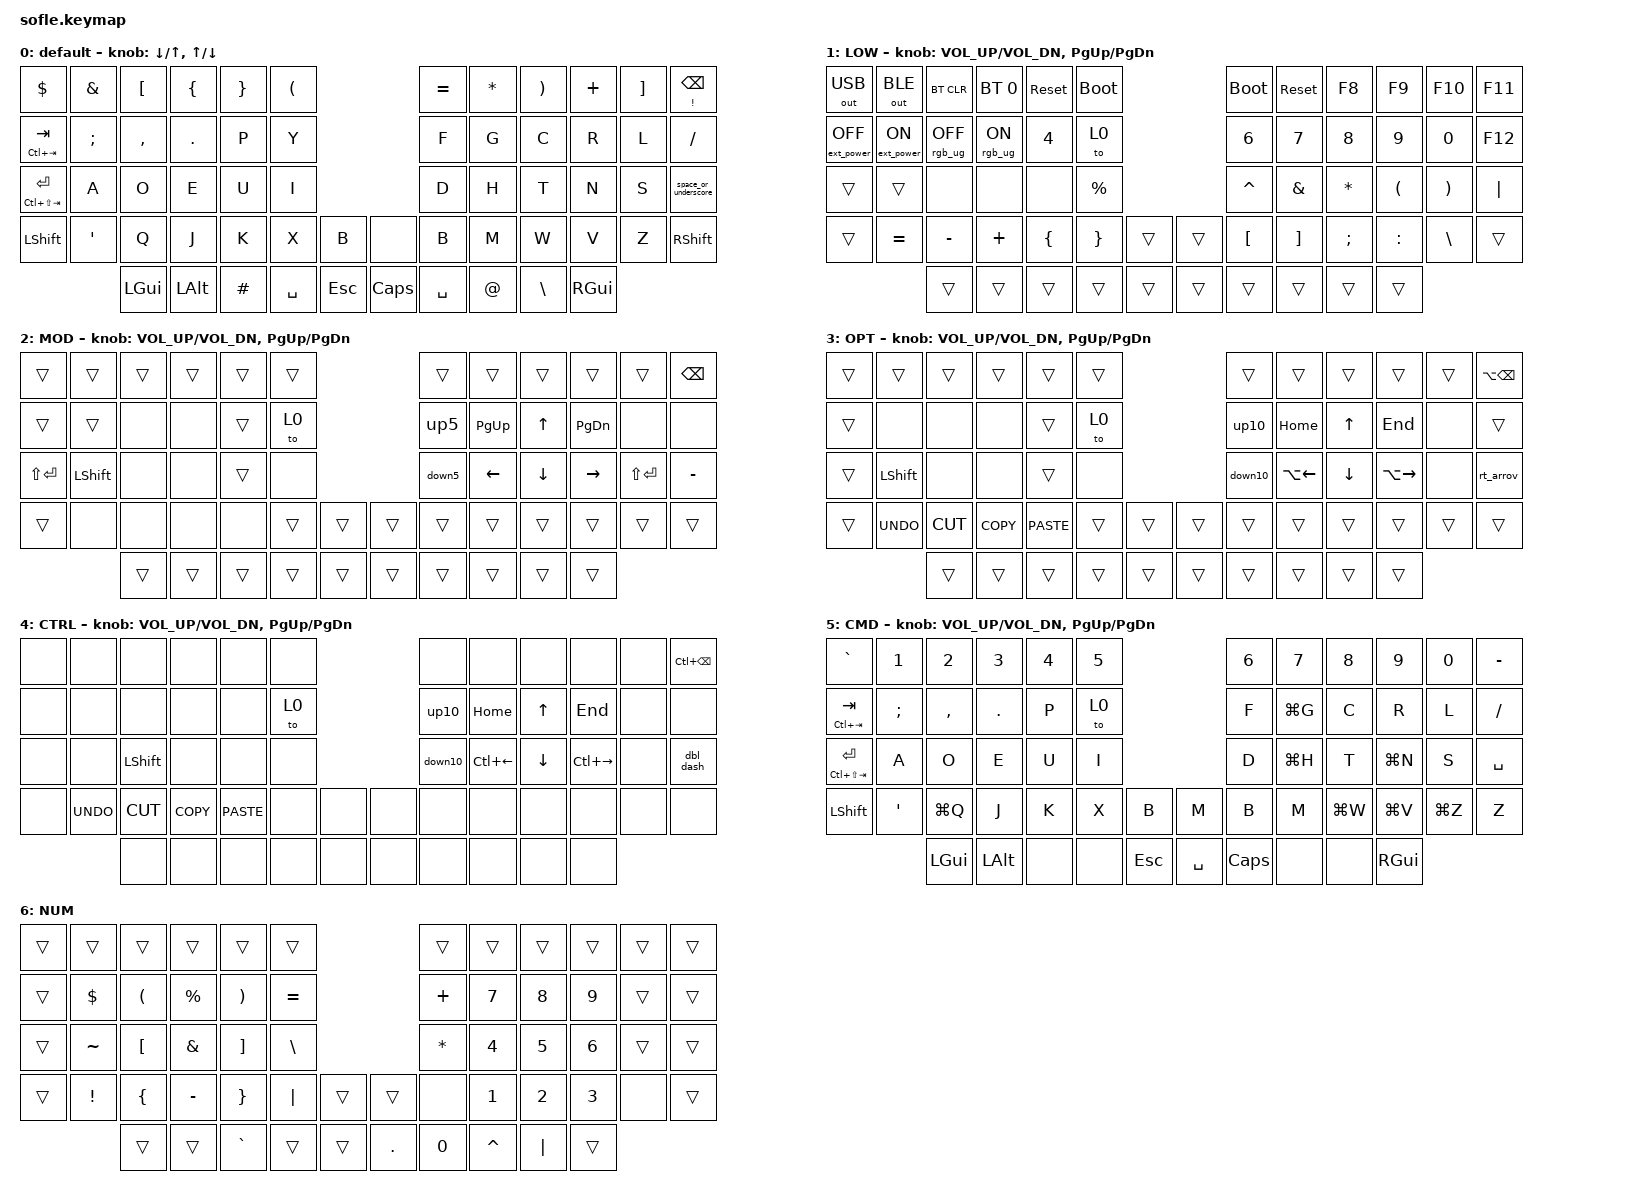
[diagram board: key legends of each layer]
/*
 * Copyright (c) 2020 The ZMK Contributors
 *
 * SPDX-License-Identifier: MIT
 */

#include <behaviors.dtsi>
#include <dt-bindings/zmk/bt.h>
#include <dt-bindings/zmk/ext_power.h>
#include <dt-bindings/zmk/keys.h>
#include <dt-bindings/zmk/outputs.h>
#include <dt-bindings/zmk/rgb.h>

#define BASE 0
#define LOWER 1
#define MOD 2
#define MODOPT 3
#define MODCTRL 4
#define MODCMD 5
#define MODFCN 6

&nice_view_spi { cs-gpios = <&gpio1 1 GPIO_ACTIVE_HIGH>; };

&sk { release-after-ms = <2000>; };

/ {
    behaviors {
        space_or_underscore: space_or_underscore {
            compatible = "zmk,behavior-mod-morph";
            #binding-cells = <0>;
            bindings = <&kp SPACE>, <&kp UNDER>;

            mods = <(MOD_LSFT)>;
            keep-mods = <(MOD_LSFT)>;
        };
    };

    combos {
        compatible = "zmk,combos";

        mod_layer {
            timeout-ms = <50>;
            bindings = <&mo 2>;
            key-positions = <27 28>;
        };

        modopt_layer {
            timeout-ms = <50>;
            bindings = <&mo 3>;
            key-positions = <26 28>;
        };

        modctrl_layer {
            timeout-ms = <50>;
            bindings = <&mo 4>;
            key-positions = <25 28>;
        };

        sticky_command {
            timeout-ms = <50>;
            bindings = <&sk LEFT_COMMAND>;
            key-positions = <31 32>;
        };

        sticky_control {
            timeout-ms = <50>;
            bindings = <&sk LEFT_CONTROL>;
            key-positions = <31 33>;
        };

        sticky_command_control {
            timeout-ms = <50>;
            bindings = <&sk LC(LEFT_COMMAND)>;
            key-positions = <31 34>;
        };

        sticky_option_shift {
            timeout-ms = <50>;
            bindings = <&sk LS(LEFT_ALT)>;
            key-positions = <30 32>;
        };

        spotlight {
            bindings = <&spotlight>;
            key-positions = <28 31>;
        };

        hold_mod {
            bindings = <&to 2>;
            key-positions = <15 16>;
        };

        hold_modopt {
            bindings = <&to 3>;
            key-positions = <14 16>;
        };

        hold_modctrl {
            bindings = <&to 4>;
            key-positions = <13 16>;
        };

        hold_modcmd {
            bindings = <&to 5>;
            key-positions = <19 20>;
        };

        lower {
            bindings = <&mo 1>;
            key-positions = <37 38 39 40>;
        };

        num_left {
            bindings = <&mo 6>;
            key-positions = <39 40>;
        };

        num_right {
            bindings = <&mo 6>;
            key-positions = <45 46>;
        };

        lowerright {
            bindings = <&mo 1>;
            key-positions = <45 46 47 48>;
        };
    };

    macros {
        rt_arrov: rt_arrow {
            compatible = "zmk,behavior-macro";
            #binding-cells = <0>;
            tap-ms = <1>;
            bindings = <&kp MINUS &kp GREATER_THAN>;
            label = "RT_ARROW";
        };

        dbl_dash: dbl_dash {
            compatible = "zmk,behavior-macro";
            #binding-cells = <0>;
            tap-ms = <1>;
            bindings = <&kp MINUS &kp MINUS>;
            label = "DBL_DASH";
        };

        up5: up5 {
            compatible = "zmk,behavior-macro";
            #binding-cells = <0>;
            tap-ms = <1>;
            bindings = <&kp UP &kp UP &kp UP &kp UP &kp UP>;
            label = "UP5";
        };

        down5: down5 {
            compatible = "zmk,behavior-macro";
            #binding-cells = <0>;
            tap-ms = <1>;
            bindings = <&kp DOWN &kp DOWN &kp DOWN &kp DOWN &kp DOWN>;
            label = "DOWN5";
        };

        up10: up10 {
            compatible = "zmk,behavior-macro";
            #binding-cells = <0>;
            tap-ms = <1>;
            bindings = <&kp UP &kp UP &kp UP &kp UP &kp UP &kp UP &kp UP &kp UP &kp UP &kp UP>;
            label = "UP10";
        };

        down10: down10 {
            compatible = "zmk,behavior-macro";
            #binding-cells = <0>;
            tap-ms = <1>;
            bindings = <&kp DOWN &kp DOWN &kp DOWN &kp DOWN &kp DOWN &kp DOWN &kp DOWN &kp DOWN &kp DOWN &kp DOWN>;
            label = "DOWN10";
        };

        spotlight: spotlight {
            compatible = "zmk,behavior-macro";
            #binding-cells = <0>;
            bindings = <&kp LG(SPACE)>;
            label = "SPOTLIGHT";
        };
    };

    keymap {
        compatible = "zmk,keymap";

        default_layer {
            display-name = "default";
            bindings = <
&kp DLLR             &kp AMPS  &kp LBKT   &kp LBRC  &kp RBRC  &kp LPAR                        &kp EQUAL  &kp STAR  &kp RPAR  &kp PLUS  &kp RBKT  &mt EXCL BACKSPACE
&mt LC(TAB) TAB      &kp SEMI  &kp COMMA  &kp DOT   &kp P     &kp Y                           &kp F      &kp G     &kp C     &kp R     &kp L     &kp FSLH
&mt LC(LS(TAB)) RET  &kp A     &kp O      &kp E     &kp U     &kp I                           &kp D      &kp H     &kp T     &kp N     &kp S     &space_or_underscore
&kp LSHFT            &kp SQT   &kp Q      &kp J     &kp K     &kp X      &kp B      &none     &kp B      &kp M     &kp W     &kp V     &kp Z     &kp RSHFT
                               &kp LGUI   &kp LALT  &kp HASH  &kp SPACE  &kp ESC    &kp CAPS  &kp SPACE  &kp AT    &kp BSLH  &kp RGUI
            >;

            sensor-bindings = <&inc_dec_kp DOWN UP>, <&inc_dec_kp UP DOWN>;
        };

        lower_layer {
            display-name = "LOW";
            bindings = <
&out OUT_USB       &out OUT_BLE      &bt BT_CLR       &bt BT_SEL 0    &sys_reset  &bootloader                    &bootloader  &sys_reset  &kp F8     &kp F9     &kp F10   &kp F11
&ext_power EP_OFF  &ext_power EP_ON  &rgb_ug RGB_OFF  &rgb_ug RGB_ON  &kp N4      &to 0                          &kp N6       &kp N7      &kp N8     &kp N9     &kp N0    &kp F12
&trans             &trans            &none            &none           &none       &kp PRCNT                      &kp CARET    &kp AMPS    &kp ASTRK  &kp LPAR   &kp RPAR  &kp PIPE
&trans             &kp EQUAL         &kp MINUS        &kp PLUS        &kp LBRC    &kp RBRC     &trans    &trans  &kp LBKT     &kp RBKT    &kp SEMI   &kp COLON  &kp BSLH  &trans
                                     &trans           &trans          &trans      &trans       &trans    &trans  &trans       &trans      &trans     &trans
            >;

            sensor-bindings = <&inc_dec_kp C_VOL_UP C_VOL_DN &inc_dec_kp PG_UP PG_DN>;
        };

        mod_layer {
            display-name = "MOD";
            bindings = <
&trans         &trans     &trans  &trans  &trans  &trans                    &trans  &trans       &trans    &trans         &trans         &kp BACKSPACE
&trans         &trans     &none   &none   &trans  &to 0                     &up5    &kp PAGE_UP  &kp UP    &kp PAGE_DOWN  &none          &none
&kp LS(ENTER)  &kp LSHFT  &none   &none   &trans  &none                     &down5  &kp LEFT     &kp DOWN  &kp RIGHT      &kp LS(ENTER)  &kp MINUS
&trans         &none      &none   &none   &none   &trans  &trans    &trans  &trans  &trans       &trans    &trans         &trans         &trans
                          &trans  &trans  &trans  &trans  &trans    &trans  &trans  &trans       &trans    &trans
            >;

            sensor-bindings = <&inc_dec_kp C_VOL_UP C_VOL_DN &inc_dec_kp PG_UP PG_DN>;
        };

        modopt_layer {
            display-name = "OPT";
            bindings = <
&trans  &trans      &trans     &trans      &trans       &trans                    &trans   &trans        &trans    &trans         &trans  &kp LA(BACKSPACE)
&trans  &none       &none      &none       &trans       &to 0                     &up10    &kp HOME      &kp UP    &kp END        &none   &trans
&trans  &kp LSHFT   &none      &none       &trans       &none                     &down10  &kp LA(LEFT)  &kp DOWN  &kp LA(RIGHT)  &none   &rt_arrov
&trans  &kp K_UNDO  &kp K_CUT  &kp K_COPY  &kp K_PASTE  &trans  &trans    &trans  &trans   &trans        &trans    &trans         &trans  &trans
                    &trans     &trans      &trans       &trans  &trans    &trans  &trans   &trans        &trans    &trans
            >;

            sensor-bindings = <&inc_dec_kp C_VOL_UP C_VOL_DN &inc_dec_kp PG_UP PG_DN>;
        };

        modctrl_layer {
            display-name = "CTRL";
            bindings = <
&none  &none       &none      &none       &none        &none                  &none    &none         &none     &none          &none  &kp LC(BACKSPACE)
&none  &none       &none      &none       &none        &to 0                  &up10    &kp HOME      &kp UP    &kp END        &none  &none
&none  &none       &kp LSHFT  &none       &none        &none                  &down10  &kp LC(LEFT)  &kp DOWN  &kp LC(RIGHT)  &none  &dbl_dash
&none  &kp K_UNDO  &kp K_CUT  &kp K_COPY  &kp K_PASTE  &none  &none    &none  &none    &none         &none     &none          &none  &none
                   &none      &none       &none        &none  &none    &none  &none    &none         &none     &none
            >;

            sensor-bindings = <&inc_dec_kp C_VOL_UP C_VOL_DN &inc_dec_kp PG_UP PG_DN>;
        };

        modcmd_layer {
            display-name = "CMD";
            bindings = <
&kp GRAVE            &kp N1    &kp N2     &kp N3    &kp N4  &kp N5                        &kp N6    &kp N7     &kp N8     &kp N9     &kp N0     &kp MINUS
&mt LC(TAB) TAB      &kp SEMI  &kp COMMA  &kp DOT   &kp P   &to 0                         &kp F     &kp LG(G)  &kp C      &kp R      &kp L      &kp FSLH
&mt LC(LS(TAB)) RET  &kp A     &kp O      &kp E     &kp U   &kp I                         &kp D     &kp LG(H)  &kp T      &kp LG(N)  &kp S      &kp SPACE
&kp LSHFT            &kp SQT   &kp LG(Q)  &kp J     &kp K   &kp X   &kp B      &kp M      &kp B     &kp M      &kp LG(W)  &kp LG(V)  &kp LG(Z)  &kp Z
                               &kp LGUI   &kp LALT  &none   &none   &kp ESC    &kp SPACE  &kp CAPS  &none      &none      &kp RGUI
            >;

            sensor-bindings = <&inc_dec_kp C_VOL_UP C_VOL_DN &inc_dec_kp PG_UP PG_DN>;
        };

        num_layer {
            display-name = "NUM";
            bindings = <
&trans  &trans      &trans    &trans         &trans     &trans                               &trans        &trans     &trans    &trans  &trans  &trans
&trans  &kp DOLLAR  &kp LPAR  &kp PERCENT    &kp RPAR   &kp EQUAL                            &kp PLUS      &kp N7     &kp N8    &kp N9  &trans  &trans
&trans  &kp TILDE   &kp LBKT  &kp AMPERSAND  &kp RBKT   &kp BACKSLASH                        &kp ASTERISK  &kp N4     &kp N5    &kp N6  &trans  &trans
&trans  &kp EXCL    &kp LBRC  &kp MINUS      &kp RBRC   &kp PIPE       &trans    &trans      &none         &kp N1     &kp N2    &kp N3  &none   &trans
                    &trans    &trans         &kp GRAVE  &trans         &trans    &kp PERIOD  &kp NUMBER_0  &kp CARET  &kp PIPE  &trans
            >;
        };
    };
};
